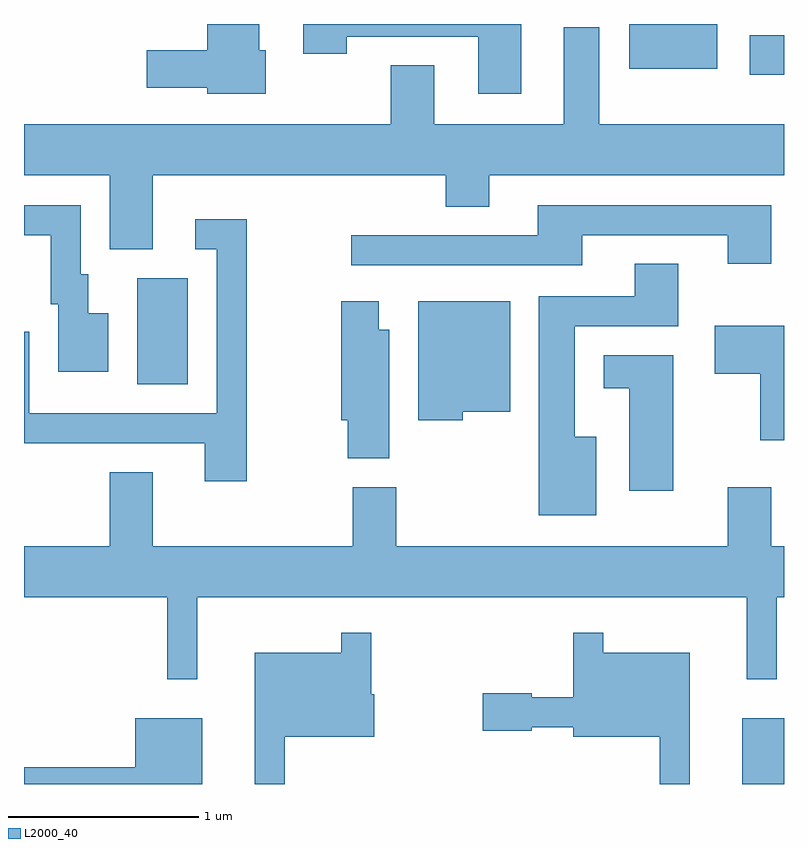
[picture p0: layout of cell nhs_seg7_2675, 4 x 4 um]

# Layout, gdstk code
import gdstk
lib = gdstk.Library(unit=1e-6, precision=1e-09)
def R(c, l, rs):  # rectangles x0, y0, x1, y1
    for r in rs: c.add(gdstk.rectangle(r[:2], r[2:], *l))
def P(c, l, *ps):  # polygons
    for p in ps: c.add(gdstk.Polygon(p, *l))
L2000_40 = (2000, 40)

nhs_seg7_2675 = lib.new_cell('nhs_seg7_2675')
R(nhs_seg7_2675, L2000_40, [(271.391,1682.252,271.611,1682.599), (268.206,1684.356,268.474,1684.914), (271.431,1685.986,271.611,1686.194), (270.796,1686.016,271.259,1686.252)])
P(nhs_seg7_2675, L2000_40, [(270.229,1686.252),(269.081,1686.252),(269.081,1686.096),(269.309,1686.096),(269.309,1686.186),(270.001,1686.186),(270.001,1685.886),(270.229,1685.886)],
  [(268.884,1686.114),(268.849,1686.114),(268.849,1686.252),(268.576,1686.252),(268.576,1686.114),(268.256,1686.114),(268.256,1685.916),(268.576,1685.916),(268.576,1685.886),(268.884,1685.886)],
  [(268.289,1685.456),(269.831,1685.456),(269.831,1685.291),(270.059,1685.291),(270.059,1685.456),(271.611,1685.456),(271.611,1685.724),(270.639,1685.724),(270.639,1686.234),(270.451,1686.234),(270.451,1685.724),(269.769,1685.724),(269.769,1686.034),(269.541,1686.034),(269.541,1685.724),(267.611,1685.724),(267.611,1685.456),(268.061,1685.456),(268.061,1685.066),(268.289,1685.066)],
  [(268.054,1684.729),(267.949,1684.729),(267.949,1684.934),(267.909,1684.934),(267.909,1685.299),(267.611,1685.299),(267.611,1685.141),(267.751,1685.141),(267.751,1684.776),(267.791,1684.776),(267.791,1684.421),(268.054,1684.421)],
  [(270.549,1685.141),(271.316,1685.141),(271.316,1684.991),(271.544,1684.991),(271.544,1685.299),(270.316,1685.299),(270.316,1685.139),(269.333,1685.139),(269.333,1684.981),(270.549,1684.981)],
  [(268.784,1685.224),(268.513,1685.224),(268.513,1685.066),(268.626,1685.066),(268.626,1684.204),(267.639,1684.204),(267.639,1684.633),(267.611,1684.633),(267.611,1684.046),(268.561,1684.046),(268.561,1683.846),(268.784,1683.846)],
  [(270.624,1684.079),(270.509,1684.079),(270.509,1684.661),(271.054,1684.661),(271.054,1684.989),(270.826,1684.989),(270.826,1684.819),(270.321,1684.819),(270.321,1683.666),(270.624,1683.666)],
  [(269.534,1684.644),(269.479,1684.644),(269.479,1684.794),(269.281,1684.794),(269.281,1684.166),(269.316,1684.166),(269.316,1683.966),(269.534,1683.966)],
  [(269.919,1684.211),(270.169,1684.211),(270.169,1684.794),(269.686,1684.794),(269.686,1684.166),(269.919,1684.166)],
  [(271.611,1684.664),(271.246,1684.664),(271.246,1684.411),(271.486,1684.411),(271.486,1684.061),(271.611,1684.061)],
  [(271.029,1684.509),(270.661,1684.509),(270.661,1684.336),(270.796,1684.336),(270.796,1683.796),(271.029,1683.796)],
  [(268.524,1683.236),(271.416,1683.236),(271.416,1682.803),(271.574,1682.803),(271.574,1683.236),(271.611,1683.236),(271.611,1683.504),(271.544,1683.504),(271.544,1683.814),(271.316,1683.814),(271.316,1683.504),(269.569,1683.504),(269.569,1683.814),(269.341,1683.814),(269.341,1683.504),(268.289,1683.504),(268.289,1683.894),(268.061,1683.894),(268.061,1683.504),(267.611,1683.504),(267.611,1683.236),(268.366,1683.236),(268.366,1682.803),(268.524,1682.803)],
  [(271.114,1682.944),(270.659,1682.944),(270.659,1683.048),(270.501,1683.048),(270.501,1682.709),(270.284,1682.709),(270.284,1682.729),(270.026,1682.729),(270.026,1682.531),(270.284,1682.531),(270.284,1682.551),(270.501,1682.551),(270.501,1682.501),(270.956,1682.501),(270.956,1682.252),(271.114,1682.252)],
  [(268.984,1682.501),(269.454,1682.501),(269.454,1682.725),(269.439,1682.725),(269.439,1683.048),(269.281,1683.048),(269.281,1682.944),(268.826,1682.944),(268.826,1682.252),(268.984,1682.252)],
  [(268.549,1682.599),(268.196,1682.599),(268.196,1682.339),(267.611,1682.339),(267.611,1682.252),(268.549,1682.252)])

lib.write_gds('nhs_seg7_2675.gds')
